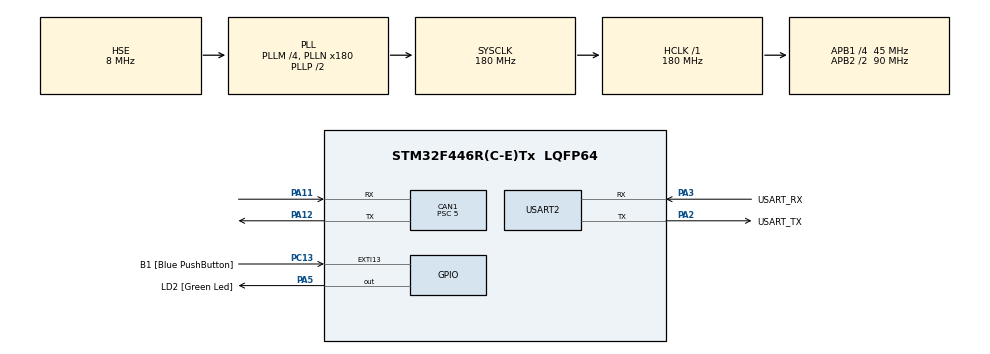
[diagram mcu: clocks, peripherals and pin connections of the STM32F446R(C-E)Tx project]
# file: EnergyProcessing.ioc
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CAN1.ABOM=ENABLE
CAN1.BS1=CAN_BS1_15TQ
CAN1.BS2=CAN_BS2_2TQ
CAN1.CalculateBaudRate=500000
CAN1.CalculateTimeBit=2000
CAN1.CalculateTimeQuantum=111.11111111111111
CAN1.NART=ENABLE
CAN1.Prescaler=5
FREERTOS.Tasks01=defaultTask,24,128,StartDefaultTask,Default,NULL,Dynamic,NULL,NULL
FREERTOS.configUSE_IDLE_HOOK=1
FREERTOS.configUSE_NEWLIB_REENTRANT=1
Mcu.Family=STM32F4
Mcu.Name=STM32F446R(C-E)Tx
Mcu.Package=LQFP64
NVIC.CAN1_RX0_IRQn=true\:5\:0\:false\:false\:true\:true\:true\:true\:true
NVIC.PriorityGroup=NVIC_PRIORITYGROUP_4
NVIC.TIM6_DAC_IRQn=true\:15\:0\:false\:false\:true\:false\:false\:true\:true
NVIC.TimeBase=TIM6_DAC_IRQn
NVIC.TimeBaseIP=TIM6
PA11.Mode=CAN_Activate
PA11.Signal=CAN1_RX
PA12.Mode=CAN_Activate
PA12.Signal=CAN1_TX
PA13.GPIO_Label=TMS
PA13.Mode=Serial_Wire
PA13.Signal=SYS_JTMS-SWDIO
PA14.GPIO_Label=TCK
PA14.Mode=Serial_Wire
PA14.Signal=SYS_JTCK-SWCLK
PA2.GPIO_Label=USART_TX
PA2.Mode=Asynchronous
PA2.Signal=USART2_TX
PA3.GPIO_Label=USART_RX
PA3.Mode=Asynchronous
PA3.Signal=USART2_RX
PA5.GPIO_Label=LD2 [Green Led]
PA5.Signal=GPIO_Output
PB3.GPIO_Label=SWO
PB3.Signal=SYS_JTDO-SWO
PC13.GPIO_Label=B1 [Blue PushButton]
PC13.GPIO_ModeDefaultEXTI=GPIO_MODE_IT_FALLING
PC13.Signal=GPXTI13
PC14-OSC32_IN.Mode=LSE-External-Oscillator
PC14-OSC32_IN.Signal=RCC_OSC32_IN
PC15-OSC32_OUT.Mode=LSE-External-Oscillator
PC15-OSC32_OUT.Signal=RCC_OSC32_OUT
PH0-OSC_IN.Mode=HSE-External-Clock-Source
PH0-OSC_IN.Signal=RCC_OSC_IN
PH1-OSC_OUT.Mode=HSE-External-Clock-Source
PH1-OSC_OUT.Signal=RCC_OSC_OUT
ProjectManager.HeapSize=0x200
ProjectManager.StackSize=0x400
ProjectManager.TargetToolchain=STM32CubeIDE
RCC.48MHZClocksFreq_Value=84000000
RCC.AHBFreq_Value=180000000
RCC.APB1CLKDivider=RCC_HCLK_DIV4
RCC.APB1Freq_Value=45000000
RCC.APB1TimFreq_Value=90000000
RCC.APB2CLKDivider=RCC_HCLK_DIV2
RCC.APB2Freq_Value=90000000
RCC.APB2TimFreq_Value=180000000
RCC.CortexFreq_Value=180000000
RCC.FLatency-AdvancedSettings=FLASH_LATENCY_5
RCC.HCLKFreq_Value=180000000
RCC.HSE_VALUE=8000000
RCC.HSI_VALUE=16000000
RCC.PLLM=4
RCC.PLLN=180
RCC.PLLSourceVirtual=RCC_PLLSOURCE_HSE
RCC.SYSCLKFreq_VALUE=180000000
RCC.SYSCLKSource=RCC_SYSCLKSOURCE_PLLCLK
RCC.USBFreq_Value=180000000
RCC.VCOOutputFreq_Value=360000000
USART2.VirtualMode=VM_ASYNC
VP_FREERTOS_VS_CMSIS_V2.Mode=CMSIS_V2
VP_SYS_VS_tim6.Mode=TIM6
board=NUCLEO-F446RE

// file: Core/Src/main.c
/* USER CODE BEGIN Header */
/**
  ******************************************************************************
  * @file           : main.c
  * @brief          : Main program body
  ******************************************************************************
  */
/* USER CODE END Header */
#include "main.h"
#include "cmsis_os2.h"

/* USER CODE BEGIN Includes */
#include "EnergyProcessing.h"
#include <math.h>
#include <stdbool.h>
#include <string.h>
/* USER CODE END Includes */

/* USER CODE BEGIN PTD */
typedef struct {
    float v;
    float i;
} SampleMsg_t;
/* USER CODE END PTD */

/* USER CODE BEGIN PD */
#define NOMINAL_V    230.0f
#define MAX_I        16.0f
#define V_TOLERANCE  23.0f
/* USER CODE END PD */

CAN_HandleTypeDef hcan1;
UART_HandleTypeDef huart2;

/* USER CODE BEGIN PV */
osMessageQueueId_t SampleQueueHandle;
osThreadId_t       ProcessingTaskHandle;
osThreadId_t       CommTaskHandle;

EnergyMetrics g_metrics;
CAN_RxHeaderTypeDef rxHeader;
uint8_t rxData[8];
CAN_TxHeaderTypeDef tx_header;
uint32_t tx_mailbox;

const osThreadAttr_t procTask_attr = { .name = "ProcTask", .priority = (osPriority_t) osPriorityAboveNormal, .stack_size = 512 * 4 };
const osThreadAttr_t commTask_attr = { .name = "CommTask", .priority = (osPriority_t) osPriorityNormal, .stack_size = 256 * 4 };
/* USER CODE END PV */

void SystemClock_Config(void);
static void MX_GPIO_Init(void);
static void MX_USART2_UART_Init(void);
static void MX_CAN1_Init(void);
void StartProcessingTask(void *argument);
void StartCommTask(void *argument);
float calculate_quality(const EnergyMetrics *m, uint8_t *qv, uint8_t *qpf, uint8_t *qi, uint8_t *grade);

/* USER CODE BEGIN 0 */
/* Logic for vApplicationIdleHook is handled in freertos.c to avoid duplicate definition errors */
/* USER CODE END 0 */

int main(void)
{
  HAL_Init();
  SystemClock_Config();

  MX_GPIO_Init();
  MX_USART2_UART_Init();
  MX_CAN1_Init();

  /* USER CODE BEGIN 2 */
  CAN_FilterTypeDef sFilterConfig;
  sFilterConfig.FilterBank = 0;
  sFilterConfig.FilterMode = CAN_FILTERMODE_IDMASK;
  sFilterConfig.FilterScale = CAN_FILTERSCALE_32BIT;
  sFilterConfig.FilterIdHigh = 0x0000;
  sFilterConfig.FilterIdLow = 0x0000;
  sFilterConfig.FilterMaskIdHigh = 0x0000;
  sFilterConfig.FilterMaskIdLow = 0x0000;
  sFilterConfig.FilterFIFOAssignment = CAN_RX_FIFO0;
  sFilterConfig.FilterActivation = ENABLE;
  HAL_CAN_ConfigFilter(&hcan1, &sFilterConfig);

  HAL_CAN_Start(&hcan1);
  HAL_CAN_ActivateNotification(&hcan1, CAN_IT_RX_FIFO0_MSG_PENDING);

  osKernelInitialize();

  SampleQueueHandle = osMessageQueueNew(10, sizeof(SampleMsg_t), NULL);
  ProcessingTaskHandle = osThreadNew(StartProcessingTask, NULL, &procTask_attr);
  CommTaskHandle = osThreadNew(StartCommTask, NULL, &commTask_attr);

  osKernelStart();
  /* USER CODE END 2 */

  while (1) {}
}

/* USER CODE BEGIN 4 */
void HAL_CAN_RxFifo0MsgPendingCallback(CAN_HandleTypeDef *hcan) {
    if (HAL_CAN_GetRxMessage(hcan, CAN_RX_FIFO0, &rxHeader, rxData) == HAL_OK) {
        if (rxHeader.StdId == 0x100) {
            SampleMsg_t msg;
            int16_t v_raw = (int16_t)(((uint16_t)rxData[0] << 8) | rxData[1]);
            int16_t i_raw = (int16_t)(((uint16_t)rxData[2] << 8) | rxData[3]);
            msg.v = (float)v_raw / 100.0f;
            msg.i = (float)i_raw / 100.0f;
            osMessageQueuePut(SampleQueueHandle, &msg, 0U, 0U);
            HAL_GPIO_TogglePin(GPIOA, GPIO_PIN_5);
        }
    }
}

void StartProcessingTask(void *argument) {
    SampleMsg_t sample;
    energy_init();
    for(;;) {
        if (osMessageQueueGet(SampleQueueHandle, &sample, NULL, osWaitForever) == osOK) {
            energy_add_sample(sample.v, sample.i);
            if (energy_is_buffer_full()) {
                g_metrics = energy_get_metrics();
                energy_check_all_anomalies(&g_metrics);
                osThreadFlagsSet(CommTaskHandle, 0x01);
            }
        }
    }
}

void StartCommTask(void *argument) {
    uint8_t tx_data[8];
    tx_header.StdId = 0x200;
    tx_header.DLC = 8;
    tx_header.IDE = CAN_ID_STD;
    tx_header.RTR = CAN_RTR_DATA;
    uint8_t q_v, q_pf, q_i, grade;

    for(;;) {
        osThreadFlagsWait(0x01, osFlagsWaitAny, osWaitForever);
        float score = calculate_quality(&g_metrics, &q_v, &q_pf, &q_i, &grade);
        uint16_t q_scaled = (uint16_t)roundf(score * 100.0f);
        tx_data[0] = (q_scaled >> 8) & 0xFF;
        tx_data[1] = q_scaled & 0xFF;
        tx_data[2] = q_v;
        tx_data[3] = q_pf;
        tx_data[4] = q_i;
        tx_data[5] = grade;
        tx_data[6] = (uint8_t)roundf(fminf(fabsf(g_metrics.PF), 1.0f) * 100.0f);
        uint8_t flags = 0x01;
        if (g_metrics.I_rms > MAX_I) flags |= 0x02;
        if (fabsf(g_metrics.V_rms - NOMINAL_V) > V_TOLERANCE) flags |= 0x04;
        tx_data[7] = flags;
        if (HAL_CAN_GetTxMailboxesFreeLevel(&hcan1) > 0) {
            HAL_CAN_AddTxMessage(&hcan1, &tx_header, tx_data, &tx_mailbox);
        }
    }
}

float calculate_quality(const EnergyMetrics *m, uint8_t *qv, uint8_t *qpf, uint8_t *qi, uint8_t *grade) {
    float v_diff = fabsf(m->V_rms - NOMINAL_V);
    float q_v = fmaxf(0.0f, 100.0f - ((v_diff / V_TOLERANCE) * 100.0f));
    float q_pf = fabsf(m->PF) * 100.0f;
    float q_i = (m->I_rms > MAX_I) ? 0.0f : 100.0f;
    float score = (0.40f * q_v) + (0.40f * q_pf) + (0.20f * q_i);
    *grade = (score >= 90.0f) ? 3 : (score >= 75.0f ? 2 : (score >= 60.0f ? 1 : 0));
    *qv = (uint8_t)q_v; *qpf = (uint8_t)q_pf; *qi = (uint8_t)q_i;
    return score;
}

/**
  * @brief System Clock Configuration
  */
void SystemClock_Config(void)
{
  RCC_OscInitTypeDef RCC_OscInitStruct = {0};
  RCC_ClkInitTypeDef RCC_ClkInitStruct = {0};
  __HAL_RCC_PWR_CLK_ENABLE();
  __HAL_PWR_VOLTAGESCALING_CONFIG(PWR_REGULATOR_VOLTAGE_SCALE1);
  RCC_OscInitStruct.OscillatorType = RCC_OSCILLATORTYPE_HSE;
  RCC_OscInitStruct.HSEState = RCC_HSE_BYPASS;
  RCC_OscInitStruct.PLL.PLLState = RCC_PLL_ON;
  RCC_OscInitStruct.PLL.PLLSource = RCC_PLLSOURCE_HSE;
  RCC_OscInitStruct.PLL.PLLM = 4;
  RCC_OscInitStruct.PLL.PLLN = 180;
  RCC_OscInitStruct.PLL.PLLP = RCC_PLLP_DIV2;
  RCC_OscInitStruct.PLL.PLLQ = 2;
  RCC_OscInitStruct.PLL.PLLR = 2;
  HAL_RCC_OscConfig(&RCC_OscInitStruct);
  HAL_PWREx_EnableOverDrive();
  RCC_ClkInitStruct.ClockType = RCC_CLOCKTYPE_HCLK|RCC_CLOCKTYPE_SYSCLK|RCC_CLOCKTYPE_PCLK1|RCC_CLOCKTYPE_PCLK2;
  RCC_ClkInitStruct.SYSCLKSource = RCC_SYSCLKSOURCE_PLLCLK;
  RCC_ClkInitStruct.AHBCLKDivider = RCC_SYSCLK_DIV1;
  RCC_ClkInitStruct.APB1CLKDivider = RCC_HCLK_DIV4;
  RCC_ClkInitStruct.APB2CLKDivider = RCC_HCLK_DIV2;
  HAL_RCC_ClockConfig(&RCC_ClkInitStruct, FLASH_LATENCY_5);
}

static void MX_CAN1_Init(void)
{
  hcan1.Instance = CAN1;
  hcan1.Init.Prescaler = 5;
  hcan1.Init.Mode = CAN_MODE_NORMAL;
  hcan1.Init.SyncJumpWidth = CAN_SJW_1TQ;
  hcan1.Init.TimeSeg1 = CAN_BS1_15TQ;
  hcan1.Init.TimeSeg2 = CAN_BS2_2TQ;
  hcan1.Init.TimeTriggeredMode = DISABLE;
  hcan1.Init.AutoBusOff = ENABLE;
  hcan1.Init.AutoWakeUp = DISABLE;
  hcan1.Init.AutoRetransmission = ENABLE;
  hcan1.Init.ReceiveFifoLocked = DISABLE;
  hcan1.Init.TransmitFifoPriority = DISABLE;
  HAL_CAN_Init(&hcan1);
}

static void MX_USART2_UART_Init(void)
{
  huart2.Instance = USART2;
  huart2.Init.BaudRate = 115200;
  huart2.Init.WordLength = UART_WORDLENGTH_8B;
  huart2.Init.StopBits = UART_STOPBITS_1;
  huart2.Init.Parity = UART_PARITY_NONE;
  huart2.Init.Mode = UART_MODE_TX_RX;
  huart2.Init.HwFlowCtl = UART_HWCONTROL_NONE;
  huart2.Init.OverSampling = UART_OVERSAMPLING_16;
  HAL_UART_Init(&huart2);
}

static void MX_GPIO_Init(void)
{
  GPIO_InitTypeDef GPIO_InitStruct = {0};
  __HAL_RCC_GPIOC_CLK_ENABLE();
  __HAL_RCC_GPIOH_CLK_ENABLE();
  __HAL_RCC_GPIOA_CLK_ENABLE();
  __HAL_RCC_GPIOB_CLK_ENABLE();
  HAL_GPIO_WritePin(GPIOA, GPIO_PIN_5, GPIO_PIN_RESET);
  GPIO_InitStruct.Pin = GPIO_PIN_13;
  GPIO_InitStruct.Mode = GPIO_MODE_IT_FALLING;
  GPIO_InitStruct.Pull = GPIO_NOPULL;
  HAL_GPIO_Init(GPIOC, &GPIO_InitStruct);
  GPIO_InitStruct.Pin = GPIO_PIN_5;
  GPIO_InitStruct.Mode = GPIO_MODE_OUTPUT_PP;
  GPIO_InitStruct.Pull = GPIO_NOPULL;
  GPIO_InitStruct.Speed = GPIO_SPEED_FREQ_LOW;
  HAL_GPIO_Init(GPIOA, &GPIO_InitStruct);
}

void Error_Handler(void)
{
  __disable_irq();
  while (1) {}
}
/* USER CODE END 4 */

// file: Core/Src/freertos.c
/* USER CODE BEGIN Header */
/**
  ******************************************************************************
  * File Name          : freertos.c
  * Description        : Code for freertos applications
  ******************************************************************************
  * @attention
  *
  * Copyright (c) 2026 STMicroelectronics.
  * All rights reserved.
  *
  * This software is licensed under terms that can be found in the LICENSE file
  * in the root directory of this software component.
  * If no LICENSE file comes with this software, it is provided AS-IS.
  *
  ******************************************************************************
  */
/* USER CODE END Header */

#include "FreeRTOS.h"
#include "task.h"
#include "main.h"

/* Hook prototypes */
void vApplicationIdleHook(void);

/* USER CODE BEGIN 2 */
void vApplicationIdleHook( void )
{
   /* vApplicationIdleHook() will only be called if configUSE_IDLE_HOOK is set
   to 1 in FreeRTOSConfig.h. It will be called on each iteration of the idle
   task. It is essential that code added to this hook function never attempts
   to block in any way (for example, call xQueueReceive() with a block time
   specified, or call vTaskDelay()). If the application makes use of the
   vTaskDelete() API function (as this demo application does) then it is also
   important that vApplicationIdleHook() is permitted to return to its calling
   function, because it is the responsibility of the idle task to clean up
   memory allocated by the kernel to any task that has since been deleted. */
}
/* USER CODE END 2 */
